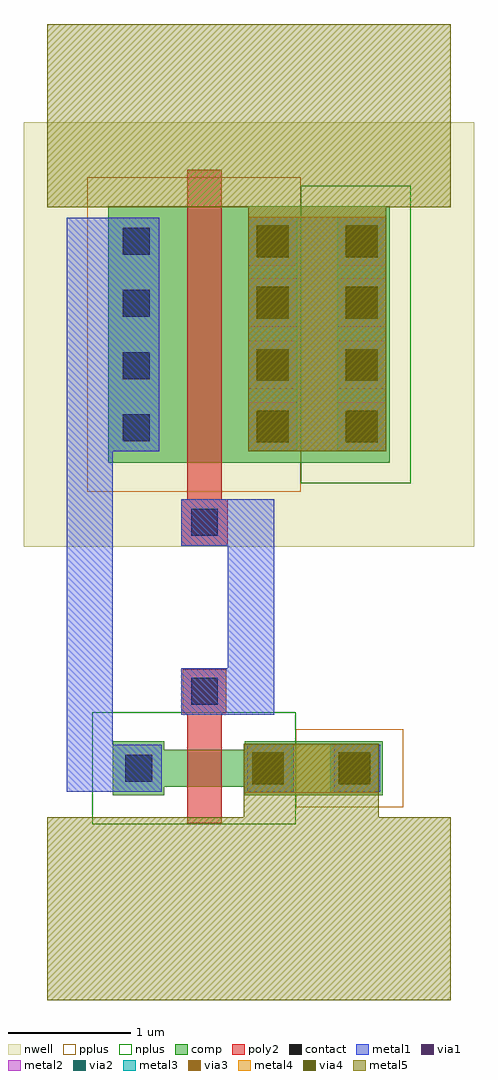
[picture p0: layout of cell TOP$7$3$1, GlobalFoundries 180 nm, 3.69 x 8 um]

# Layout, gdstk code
import gdstk
lib = gdstk.Library(unit=1e-6, precision=1e-09)
def R(c, l, rs):  # rectangles x0, y0, x1, y1
    for r in rs: c.add(gdstk.rectangle(r[:2], r[2:], *l))
def A(c, l, x, y, w, h, nx, ny, dx, dy):  # array of equal rectangles
    R(c, l, [(x+i*dx, y+j*dy, x+i*dx+w, y+j*dy+h) for i in range(nx) for j in range(ny)])
nwell = (21, 0)
comp = (22, 0)
poly2 = (30, 0)
pplus = (31, 0)
nplus = (32, 0)
contact = (33, 0)
metal1 = (34, 0)
via1 = (35, 0)
metal2 = (36, 0)
via2 = (38, 0)
via3 = (40, 0)
via4 = (41, 0)
metal3 = (42, 0)
metal4 = (46, 0)
metal5 = (81, 0)

nfet_6_3_1 = lib.new_cell('nfet$6$3$1')
R(nfet_6_3_1, comp, [(-0.42,-0.07,0,0.37), (0.66,-0.07,1.08,0.37), (1.08,-0.07,1.79,0.37), (0,0,0.66,0.3)])
R(nfet_6_3_1, poly2, [(0.19,-0.3,0.47,0.6), (0.15,0.6,0.51,0.96)])
R(nfet_6_3_1, pplus, [(1.08,-0.17,1.96,0.47)])
R(nfet_6_3_1, nplus, [(-0.59,-0.31,1.08,0.61)])
R(nfet_6_3_1, contact, [(-0.32,0.04,-0.1,0.26), (0.76,0.04,0.98,0.26), (1.47,0.04,1.69,0.26), (0.22,0.67,0.44,0.89)])
R(nfet_6_3_1, metal1, [(-0.4,-0.041,-0.02,0.341), (0.68,-0.041,1.06,0.341), (1.39,-0.041,1.77,0.341), (0.14,0.589,0.52,0.971)])

via_dev_1_4_3_1 = lib.new_cell('via_dev$1$4$3$1')
R(via_dev_1_4_3_1, metal2, [(0,0,0.4,0.4)])
R(via_dev_1_4_3_1, via2, [(0.07,0.07,0.33,0.33)])
R(via_dev_1_4_3_1, via3, [(0.07,0.07,0.33,0.33)])
R(via_dev_1_4_3_1, via4, [(0.07,0.07,0.33,0.33)])
R(via_dev_1_4_3_1, metal3, [(0,0,0.4,0.4)])
R(via_dev_1_4_3_1, metal4, [(0,0,0.4,0.4)])
R(via_dev_1_4_3_1, metal5, [(0,0,0.4,0.4)])

via_dev_12_3_1 = lib.new_cell('via_dev$12$3$1')
R(via_dev_12_3_1, metal1, [(0,0,0.4,0.4)])
R(via_dev_12_3_1, via1, [(0.07,0.07,0.33,0.33)])
R(via_dev_12_3_1, metal2, [(0,0,0.4,0.4)])
R(via_dev_12_3_1, via2, [(0.07,0.07,0.33,0.33)])
R(via_dev_12_3_1, via3, [(0.07,0.07,0.33,0.33)])
R(via_dev_12_3_1, via4, [(0.07,0.07,0.33,0.33)])
R(via_dev_12_3_1, metal3, [(0,0,0.4,0.4)])
R(via_dev_12_3_1, metal4, [(0,0,0.4,0.4)])
R(via_dev_12_3_1, metal5, [(0,0,0.4,0.4)])

pfet_8_3_1 = lib.new_cell('pfet$8$3$1')
R(pfet_8_3_1, nwell, [(-1.15,-0.69,2.54,2.79)])
R(pfet_8_3_1, comp, [(-0.46,0,0,2.1), (0,0,0.66,2.1), (0.66,0,1.12,2.1), (1.12,0,1.85,2.1)])
R(pfet_8_3_1, poly2, [(0.14,-0.68,0.52,-0.3), (0.19,-0.3,0.47,2.4)])
R(pfet_8_3_1, pplus, [(-0.63,-0.24,1.12,2.34)])
R(pfet_8_3_1, nplus, [(1.12,-0.17,2.02,2.27)])
A(pfet_8_3_1, contact, -0.34, 0.175, 0.22, 0.22, 1, 4, 0, 0.51)
A(pfet_8_3_1, contact, 0.78, 0.175, 0.22, 0.22, 1, 4, 0, 0.51)
A(pfet_8_3_1, contact, 1.51, 0.175, 0.22, 0.22, 1, 4, 0, 0.51)
R(pfet_8_3_1, contact, [(0.22,-0.6,0.44,-0.38)])
R(pfet_8_3_1, metal1, [(0.14,-0.681,0.52,-0.299), (-0.42,0.095,-0.04,2.005), (0.7,0.095,1.08,2.005), (1.43,0.095,1.81,2.005)])

top_7_3_1 = lib.new_cell('TOP$7$3$1')
R(top_7_3_1, metal1, [(0.16,1.709,0.54,6.41), (0.54,1.709,0.56,2.091), (1.48,2.339,1.86,4.106), (1.65,4.5,2.78,6.42)])
R(top_7_3_1, metal3, [(1.65,4.5,2.05,6.42), (2.38,4.5,2.78,6.42)])
R(top_7_3_1, metal4, [(1.61,1.7,2.72,2.1), (1.65,4.5,2.78,6.42)])
R(top_7_3_1, metal5, [(0,0,3.31,1.5), (1.61,1.5,2.72,2.1), (1.65,4.5,2.78,6.505), (0,6.5,3.31,8)])
top_7_3_1.add(gdstk.Reference(nfet_6_3_1, (0.96,1.75)))
top_7_3_1.add(gdstk.Reference(via_dev_1_4_3_1, (1.61,1.7)))
top_7_3_1.add(gdstk.Reference(via_dev_1_4_3_1, (2.32,1.7)))
top_7_3_1.add(gdstk.Reference(via_dev_12_3_1, (2.38,6.02)))
top_7_3_1.add(gdstk.Reference(via_dev_12_3_1, (1.65,6.02)))
top_7_3_1.add(gdstk.Reference(via_dev_12_3_1, (2.38,5.515)))
top_7_3_1.add(gdstk.Reference(via_dev_12_3_1, (1.65,5.515)))
top_7_3_1.add(gdstk.Reference(via_dev_12_3_1, (2.38,5.005)))
top_7_3_1.add(gdstk.Reference(via_dev_12_3_1, (1.65,5.005)))
top_7_3_1.add(gdstk.Reference(via_dev_12_3_1, (2.38,4.5)))
top_7_3_1.add(gdstk.Reference(via_dev_12_3_1, (1.65,4.5)))
top_7_3_1.add(gdstk.Reference(pfet_8_3_1, (0.96,4.405)))

lib.write_gds('TOP_7_3_1.gds')
